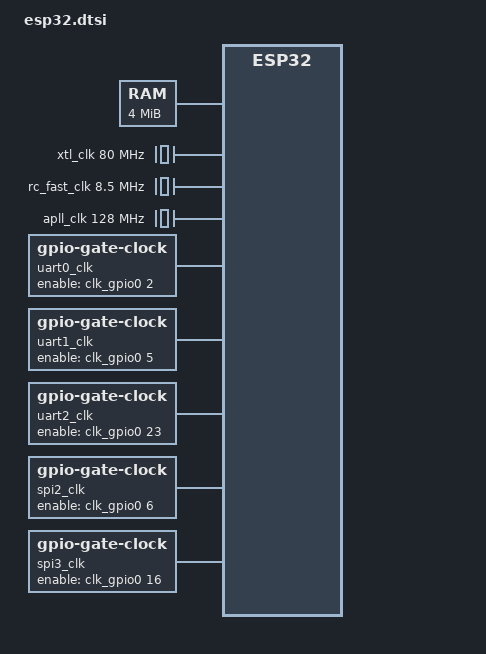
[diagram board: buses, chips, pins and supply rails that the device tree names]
// SPDX-License-Identifier: GPL-2.0-or-later
/dts-v1/;

/ {
	compatible = "esp32";
	#address-cells = <1>;
	#size-cells = <1>;
	interrupt-parent = <&pic>;

	chosen {
		bootargs = "earlycon=esp32uart,mmio32,0x3ff40000,115200n8 console=ttyS0,115200n8 debug rw root=mtd:rootfs no_hash_pointers ";
	};

	aliases {
		serial0 = "/soc/serial@3ff40000";
		serial1 = "/soc/serial@3ff50000";
		serial2 = "/soc/serial@3ff6e000";
	};

	memory@0 {
		device_type = "memory";
		reg = <0x3f800000 0x00400000>;
	};

	cpus {
		#address-cells = <1>;
		#size-cells = <0>;
		cpu@0 {
			compatible = "cdns,xtensa-cpu";
			reg = <0>;
			clocks = <&clk 0>;
		};
	};

	clocks {
		compatible = "simple-bus";
		#address-cells = <1>;
		#size-cells = <0>;

		xtl_clk: clk80m {
			#clock-cells = <0>;
			compatible = "fixed-clock";
			clock-frequency = <80000000>;
		};
		rc_fast_clk: clk8m5 {
			#clock-cells = <0>;
			compatible = "fixed-clock";
			clock-frequency = <8500000>;
		};
		apll_clk: clk128m {
			#clock-cells = <0>;
			compatible = "fixed-clock";
			clock-frequency = <128000000>;
		};

		uart0_clk: uart0_clk {
			#clock-cells = <0>;
			compatible = "gpio-gate-clock";
			clocks = <&clk 1>;
			enable-gpios = <&clk_gpio0 2 0>;
		};
		uart1_clk: uart1_clk {
			#clock-cells = <0>;
			compatible = "gpio-gate-clock";
			clocks = <&clk 1>;
			enable-gpios = <&clk_gpio0 5 0>;
		};
		uart2_clk: uart2_clk {
			#clock-cells = <0>;
			compatible = "gpio-gate-clock";
			clocks = <&clk 1>;
			enable-gpios = <&clk_gpio0 23 0>;
		};
		spi2_clk: spi2_clk {
			#clock-cells = <0>;
			compatible = "gpio-gate-clock";
			clocks = <&clk 1>;
			enable-gpios = <&clk_gpio0 6 0>;
		};
		spi3_clk: spi3_clk {
			#clock-cells = <0>;
			compatible = "gpio-gate-clock";
			clocks = <&clk 1>;
			enable-gpios = <&clk_gpio0 16 0>;
		};
	};

	pic: pic {
		compatible = "cdns,xtensa-pic";
		/* one cell: internal irq number,
		 * two cells: second cell == 0: internal irq number
		 *            second cell == 1: external irq number
		 */
		#interrupt-cells = <2>;
		interrupt-controller;
	};

	soc {
		#address-cells = <1>;
		#size-cells = <1>;
		compatible = "simple-bus";
		interrupt-parent = <&intc>;
		ranges;

		clk_gpio0: clk_gpio@3ff000c0 {
			#gpio-cells = <2>;
			compatible = "esp,esp32-clk-gpio";
			reg = <0x3ff000c0 4>;
			reg-names = "dat";
		};

		reset: reset@3ff000c4 {
			#reset-cells = <1>;
			compatible = "esp,esp32-reset";
			reg = <0x3ff000c4 4>;
		};

		intc: intc@3ff00104 {
			compatible = "esp,esp32-intc";
			reg = <0x3ff00104 0x114>;
			/* first cell: interrupt matrix row
			 * second cell: internal xtensa core IRQ number to connect to
			 */
			#interrupt-cells = <2>;
			interrupt-controller;
			interrupt-parent = <&pic>;
		};

		uart0: serial@3ff40000 {
			compatible = "esp,esp32-uart";
			reg = <0x3ff40000 0x80>;
			interrupts = <34 1>; /* UART0, external IRQ1 */
			clocks = <&uart0_clk>;
			resets = <&reset 2>;
			reset-names = "reset";
			status = "disabled";
		};

		gpio0: gpio@3ff44000 {
			#gpio-cells = <2>;
			compatible = "esp,esp32-gpio";
			reg = <0x3ff44000 0x128>;
			interrupts = <22 8>; /* GPIO, external IRQ8 */
			interrupt-controller;
			#interrupt-cells = <2>;
			status = "disabled";
		};

		gpio_in_mux: gpio_in_mux@3ff44130 {
			compatible = "pinctrl-single";
			reg = <0x3ff44130 0x400>;
			#pinctrl-cells = <1>;
			pinctrl-single,register-width = <32>;
			pinctrl-single,function-mask = <0xff>;
			status = "disabled";
		};

		gpio_out_mux: gpio_out_mux@3ff44530 {
			compatible = "pinctrl-single";
			reg = <0x3ff44530 0xa0>;
			#pinctrl-cells = <1>;
			pinctrl-single,register-width = <32>;
			pinctrl-single,function-mask = <0xfff>;
			status = "disabled";
		};

		lpm: lpm@3ff48000 {
			compatible = "syscon";
			reg = <0x3ff48000 0x1000>;
		};

		syscon@3ff48000 {
			compatible = "syscon-reboot";
			regmap = <&lpm>;
			offset = <0>;
			value = <0x80000000>;
			mask = <0x80000000>;
		};

		clk: clk@3ff48070 {
			compatible = "esp,esp32-core-clock";
			reg = <0x3ff48070 4
			       0x3ff0003c 4
			       0x3ff66000 4>;
			clocks = <&xtl_clk>, <&rc_fast_clk>, <&apll_clk>;
			clock-names = "xtl", "rc_fast", "apll";
			#clock-cells = <1>;
			/* clock-output-names = "cpu_clk", "apb_clk"; */
		};

		iomux: pinctrl@3ff49000 {
			compatible = "pinctrl-single";
			reg = <0x3ff49004 0x90>;
			#pinctrl-cells = <1>;
			pinctrl-single,register-width = <32>;
			pinctrl-single,function-mask = <0xffff>;
			status = "disabled";
		};

		uart1: serial@3ff50000 {
			compatible = "esp,esp32-uart";
			reg = <0x3ff40000 0x80>;
			interrupts = <35 2>; /* UART1, external IRQ2 */
			clocks = <&uart1_clk>;
			resets = <&reset 5>;
			reset-names = "reset";
			status = "disabled";
		};

		spi2: spi@3ff64000 {
			#address-cells = <1>;
			#size-cells = <0>;
			compatible = "esp,esp32-spi";
			reg = <0x60024000 0x100>;
			interrupts = <30 4>; /* SPI2, external IRQ4 */
			clocks = <&spi2_clk>;
			resets = <&reset 6>;
			reset-names = "reset";
			status = "disabled";
		};

		spi3: spi@3ff65000 {
			#address-cells = <1>;
			#size-cells = <0>;
			compatible = "esp,esp32-spi";
			reg = <0x60025000 0x100>;
			interrupts = <31 5>; /* SPI3, external IRQ5 */
			clocks = <&spi3_clk>;
			resets = <&reset 16>;
			reset-names = "reset";
			status = "disabled";
		};

		uart2: serial@3ff6e000 {
			compatible = "esp,esp32-uart";
			reg = <0x3ff40000 0x80>;
			interrupts = <36 3>; /* UART2, external IRQ3 */
			clocks = <&uart2_clk>;
			resets = <&reset 23>;
			reset-names = "reset";
			status = "disabled";
		};

		trng@3ff75144 {
			compatible = "esp,esp32-trng";
			reg = <0x3ff75144 0x4>;
		};
	};
};
